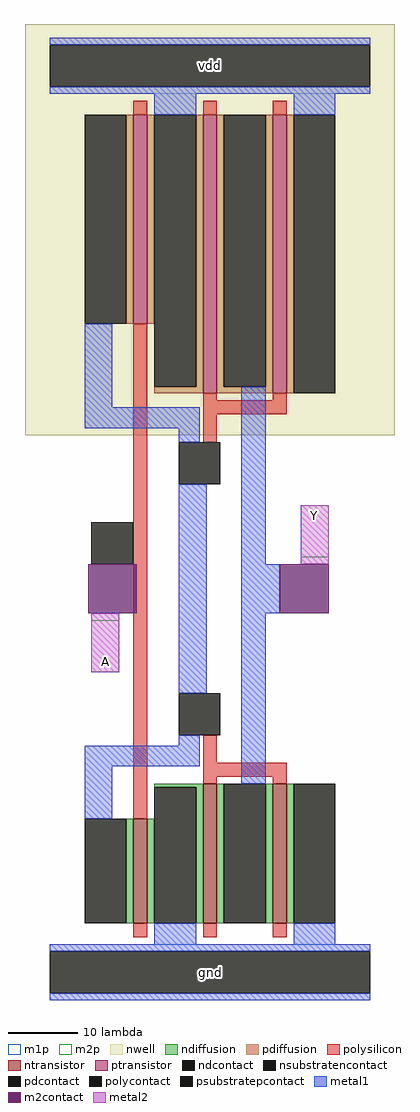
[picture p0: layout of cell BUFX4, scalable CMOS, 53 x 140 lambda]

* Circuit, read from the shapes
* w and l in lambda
.subckt BUFX4 A Y vdd gnd
M1 gnd A n1 gnd nfet w=15 l=2
M2 Y n1 gnd gnd nfet w=20 l=2 m=2
M3 vdd A n1 vdd pfet w=30 l=2
M4 Y n1 vdd vdd pfet w=40 l=2 m=2
.ends

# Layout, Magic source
magic
tech scmos
magscale 1 2
<< nwell >>
rect -13 154 93 272
<< ntransistor >>
rect 18 14 22 44
rect 38 14 42 54
rect 58 14 62 54
<< ptransistor >>
rect 18 186 22 246
rect 38 166 42 246
rect 58 166 62 246
<< ndiffusion >>
rect 24 53 38 54
rect 16 14 18 44
rect 22 14 24 44
rect 36 14 38 53
rect 42 14 44 54
rect 56 14 58 54
rect 62 14 64 54
<< pdiffusion >>
rect 16 186 18 246
rect 22 186 24 246
rect 36 168 38 246
rect 24 166 38 168
rect 42 168 44 246
rect 56 168 58 246
rect 42 166 58 168
rect 62 166 64 246
<< ndcontact >>
rect 4 14 16 44
rect 24 14 36 53
rect 44 14 56 54
rect 64 14 76 54
<< pdcontact >>
rect 4 186 16 246
rect 24 168 36 246
rect 44 168 56 246
rect 64 166 76 246
<< psubstratepcontact >>
rect -6 -6 86 6
<< nsubstratencontact >>
rect -6 254 86 266
<< polysilicon >>
rect 18 246 22 250
rect 38 246 42 250
rect 58 246 62 250
rect 18 44 22 186
rect 38 164 42 166
rect 58 164 62 166
rect 38 160 62 164
rect 38 152 42 160
rect 38 60 42 68
rect 38 56 62 60
rect 38 54 42 56
rect 58 54 62 56
rect 18 10 22 14
rect 38 10 42 14
rect 58 10 62 14
<< polycontact >>
rect 6 117 18 129
rect 31 140 43 152
rect 31 68 43 80
<< metal1 >>
rect -6 266 86 268
rect -6 252 86 254
rect 24 246 36 252
rect 64 246 76 252
rect 4 162 12 186
rect 4 156 37 162
rect 31 152 37 156
rect 31 80 39 140
rect 49 117 56 168
rect 49 103 60 117
rect 31 65 37 68
rect 4 59 37 65
rect 4 44 12 59
rect 49 54 56 103
rect 24 8 36 14
rect 64 8 76 14
rect -6 6 86 8
rect -6 -8 86 -6
<< m2contact >>
rect 5 103 19 117
rect 60 103 74 117
<< metal2 >>
rect 66 117 74 134
rect 6 86 14 103
<< m1p >>
rect -6 252 86 268
rect -6 -8 86 8
<< m2p >>
rect 66 119 74 134
rect 6 86 14 101
<< labels >>
rlabel metal2 10 89 10 89 1 A
port 1 n signal input
rlabel metal2 70 131 70 131 3 Y
port 2 n signal output
rlabel metal1 -6 252 86 268 0 vdd
port 3 nsew power bidirectional abutment
rlabel metal1 -6 -8 86 8 0 gnd
port 4 nsew ground bidirectional abutment
<< properties >>
string FIXED_BBOX 0 0 80 260
string LEFclass CORE
string LEFsite core
string LEFsymmetry X Y
<< end >>
